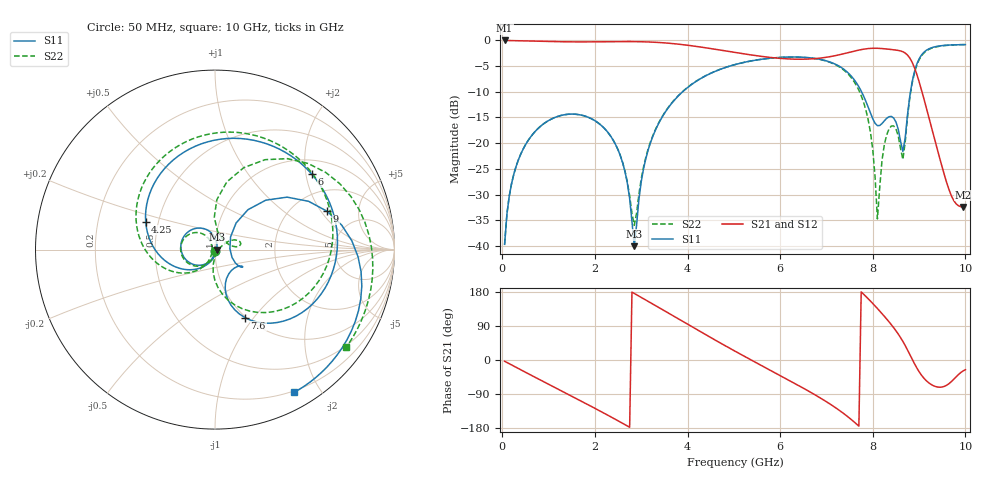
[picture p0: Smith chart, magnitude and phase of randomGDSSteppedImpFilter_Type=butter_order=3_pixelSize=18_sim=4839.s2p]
! freq	dB(S11)	phase(S11)	dB(S12)	phase(S12)
!  dB(S21)	phase(S21)	dB(S22)	phase(S22)
!S-par simulation data
#  GHz  S  DB  R 50
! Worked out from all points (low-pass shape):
!   200 points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, 50 MHz to 10 GHz, reference 50 ohm
!   highest |S21| = -0.01 dB at 50 MHz (marker M1); lowest = -32.4 dB at 9.95 GHz (marker M2)
!   |S21| within 3 dB of the highest: start of sweep to 5.514 GHz; 7.167 GHz to 8.763 GHz (1.596 GHz wide, 20 % of centre)
!   lowest |S11| = -40.1 dB at 2.85 GHz (marker M3), VSWR 1.02, Z = 51 - j0.0753 ohm
!   |S11| at or under -10 dB: start of sweep to 3.893 GHz; 7.758 GHz to 8.815 GHz (1.057 GHz wide, 12.8 % of centre)
!   |S22| runs from -39.7 to -0.8 dB; largest |S21 - S12| = 0
!   S11 on the Smith chart (normalised r, x): 50 MHz: 1.00, -0.02; 4.25 GHz: 0.42, +0.16; 6 GHz: 1.37, +2.16; 7.6 GHz: 0.99, -0.91; 9 GHz: 3.03, +2.29; 10 GHz: 0.18, -1.68
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0.05  -39.69 -91.8  -0.01 -3.3  -0.01 -3.3  -39.69 -91.6
0.2  -27.88 -103.1  -0.03 -13.0  -0.03 -13.0  -27.88 -102.2
0.5  -20.32 -123.8  -0.09 -32.3  -0.09 -32.3  -20.32 -121.4
1.75  -14.63 153.0  -0.29 -111.5  -0.29 -111.5  -14.64 163.1
2.55  -22.46 93.9  -0.23 -163.8  -0.23 -163.8  -22.44 120.7
2.85  -40.05 -4.3  -0.23 175.7  -0.23 175.7  -35.99 179.1
3.05  -24.99 -104.7  -0.27 161.7  -0.27 161.7  -24.63 -119.7
3.4  -15.75 -137.0  -0.41 137.0  -0.41 137.0  -15.66 -133.0
4.25  -7.60 158.0  -1.24 76.6  -1.24 76.6  -7.58 173.0
5.05  -4.64 100.9  -2.38 21.6  -2.38 21.6  -4.64 121.1
6  -3.30 38.0  -3.50 -41.1  -3.50 -41.1  -3.31 60.0
6.7  -3.44 -6.4  -3.58 -88.1  -3.58 -88.1  -3.47 13.3
7.6  -7.66 -66.2  -2.08 -163.7  -2.08 -163.7  -8.07 -60.3
7.95  -14.14 -72.8  -1.55 155.5  -1.55 155.5  -17.88 -94.5
8.1  -16.59 -52.3  -1.53 136.0  -1.53 136.0  -34.74 -42.6
8.2  -16.17 -37.7  -1.58 122.3  -1.58 122.3  -23.28 32.8
8.35  -14.85 -31.6  -1.72 100.9  -1.72 100.9  -17.25 22.1
8.65  -21.62 3.4  -2.20 49.0  -2.20 49.0  -23.18 45.2
9  -3.60 18.8  -8.01 -30.8  -8.01 -30.8  -3.77 51.5
9.35  -1.22 -23.1  -19.72 -69.8  -19.72 -69.8  -1.29 5.3
9.95  -0.82 -58.8  -32.40 -28.9  -32.40 -28.9  -0.81 -34.3
10  -0.82 -61.0  -32.35 -25.5  -32.35 -25.5  -0.81 -36.7
